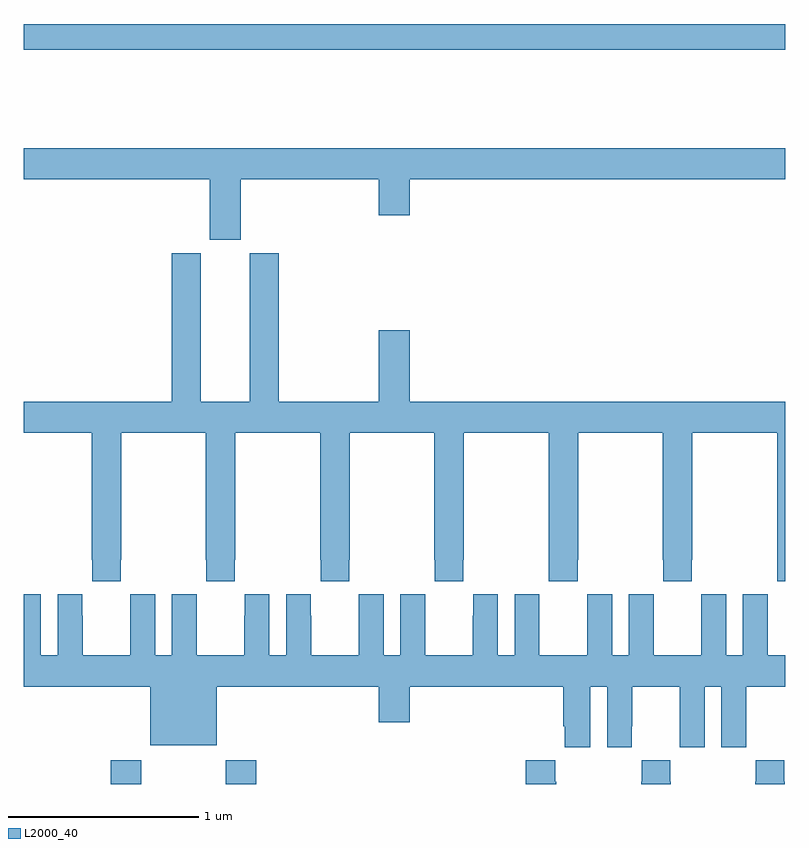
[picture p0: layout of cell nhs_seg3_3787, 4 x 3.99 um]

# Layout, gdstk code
import gdstk
lib = gdstk.Library(unit=1e-6, precision=1e-09)
def R(c, l, rs):  # rectangles x0, y0, x1, y1
    for r in rs: c.add(gdstk.rectangle(r[:2], r[2:], *l))
def P(c, l, *ps):  # polygons
    for p in ps: c.add(gdstk.Polygon(p, *l))
L2000_40 = (2000, 40)

nhs_seg3_3787 = lib.new_cell('nhs_seg3_3787')
R(nhs_seg3_3787, L2000_40, [(307.457,704.4,307.617,704.524), (308.062,704.4,308.222,704.524), (307,708.256,311,708.392)])
P(nhs_seg3_3787, L2000_40, [(308.14,707.576),(308.864,707.576),(308.864,707.388),(309.028,707.388),(309.028,707.576),(311,707.576),(311,707.74),(307,707.74),(307,707.576),(307.976,707.576),(307.976,707.259),(308.14,707.259)],
  [(308.557,705.577),(308.559,705.577),(308.559,705.465),(308.709,705.465),(308.709,705.577),(308.712,705.577),(308.712,706.244),(309.157,706.244),(309.157,705.577),(309.159,705.577),(309.159,705.465),(309.309,705.465),(309.309,705.577),(309.312,705.577),(309.312,706.244),(309.757,706.244),(309.757,705.577),(309.759,705.577),(309.759,705.465),(309.909,705.465),(309.909,705.577),(309.912,705.577),(309.912,706.244),(310.357,706.244),(310.357,705.577),(310.359,705.577),(310.359,705.465),(310.509,705.465),(310.509,705.577),(310.512,705.577),(310.512,706.244),(310.957,706.244),(310.957,705.577),(310.959,705.577),(310.959,705.465),(311,705.465),(311,706.408),(309.028,706.408),(309.028,706.783),(308.864,706.783),(308.864,706.408),(308.339,706.408),(308.339,707.187),(308.186,707.187),(308.186,706.408),(307.93,706.408),(307.93,707.187),(307.778,707.187),(307.778,706.408),(307,706.408),(307,706.244),(307.357,706.244),(307.357,705.577),(307.359,705.577),(307.359,705.465),(307.509,705.465),(307.509,705.577),(307.512,705.577),(307.512,706.244),(307.957,706.244),(307.957,705.577),(307.959,705.577),(307.959,705.465),(308.109,705.465),(308.109,705.577),(308.112,705.577),(308.112,706.244),(308.557,706.244)],
  [(308.76,705.397),(308.76,705.284),(308.759,705.284),(308.759,705.076),(308.509,705.076),(308.509,705.284),(308.508,705.284),(308.508,705.397),(308.378,705.397),(308.378,705.076),(308.29,705.076),(308.29,705.397),(308.16,705.397),(308.16,705.284),(308.159,705.284),(308.159,705.076),(307.909,705.076),(307.909,705.284),(307.908,705.284),(307.908,705.397),(307.778,705.397),(307.778,705.076),(307.69,705.076),(307.69,705.397),(307.56,705.397),(307.56,705.284),(307.559,705.284),(307.559,705.076),(307.309,705.076),(307.309,705.284),(307.308,705.284),(307.308,705.397),(307.178,705.397),(307.178,705.076),(307.09,705.076),(307.09,705.397),(307,705.397),(307,704.912),(307.664,704.912),(307.664,704.603),(308.014,704.603),(308.014,704.912),(308.864,704.912),(308.864,704.724),(309.028,704.724),(309.028,704.912),(309.833,704.912),(309.833,704.704),(309.842,704.704),(309.842,704.592),(309.976,704.592),(309.976,704.912),(310.064,704.912),(310.064,704.592),(310.194,704.592),(310.194,704.704),(310.195,704.704),(310.195,704.912),(310.445,704.912),(310.445,704.704),(310.446,704.704),(310.446,704.592),(310.576,704.592),(310.576,704.912),(310.664,704.912),(310.664,704.592),(310.794,704.592),(310.794,704.704),(310.795,704.704),(310.795,704.912),(311,704.912),(311,705.076),(310.909,705.076),(310.909,705.284),(310.908,705.284),(310.908,705.397),(310.778,705.397),(310.778,705.076),(310.69,705.076),(310.69,705.397),(310.56,705.397),(310.56,705.284),(310.559,705.284),(310.559,705.076),(310.309,705.076),(310.309,705.284),(310.308,705.284),(310.308,705.397),(310.178,705.397),(310.178,705.076),(310.09,705.076),(310.09,705.397),(309.96,705.397),(309.96,705.284),(309.959,705.284),(309.959,705.076),(309.709,705.076),(309.709,705.284),(309.708,705.284),(309.708,705.397),(309.578,705.397),(309.578,705.076),(309.49,705.076),(309.49,705.397),(309.36,705.397),(309.36,705.284),(309.359,705.284),(309.359,705.076),(309.109,705.076),(309.109,705.284),(309.108,705.284),(309.108,705.397),(308.978,705.397),(308.978,705.076),(308.89,705.076),(308.89,705.397)],
  [(310.998,704.411),(310.995,704.411),(310.995,704.524),(310.845,704.524),(310.845,704.411),(310.843,704.411),(310.843,704.4),(310.998,704.4)],
  [(310.398,704.411),(310.395,704.411),(310.395,704.524),(310.245,704.524),(310.245,704.411),(310.243,704.411),(310.243,704.4),(310.398,704.4)],
  [(309.798,704.411),(309.791,704.411),(309.791,704.524),(309.638,704.524),(309.638,704.4),(309.798,704.4)])

lib.write_gds('nhs_seg3_3787.gds')
